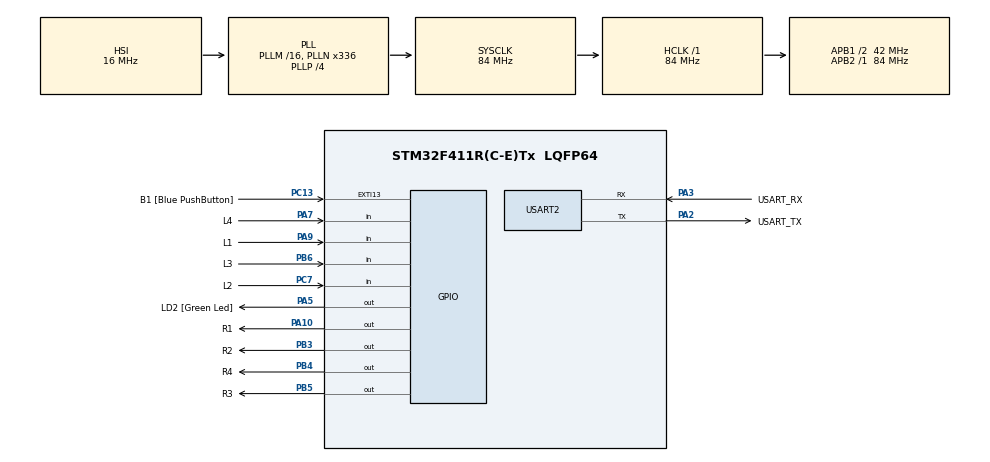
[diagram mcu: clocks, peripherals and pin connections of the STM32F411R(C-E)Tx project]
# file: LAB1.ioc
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Mcu.Family=STM32F4
Mcu.Name=STM32F411R(C-E)Tx
Mcu.Package=LQFP64
NVIC.PriorityGroup=NVIC_PRIORITYGROUP_0
PA10.GPIO_Label=R1
PA10.GPIO_ModeDefaultOutputPP=GPIO_MODE_OUTPUT_OD
PA10.GPIO_PuPd=GPIO_NOPULL
PA10.PinState=GPIO_PIN_RESET
PA10.Signal=GPIO_Output
PA13.GPIO_Label=TMS
PA13.Mode=Serial_Wire
PA13.Signal=SYS_JTMS-SWDIO
PA14.GPIO_Label=TCK
PA14.Mode=Serial_Wire
PA14.Signal=SYS_JTCK-SWCLK
PA2.GPIO_Label=USART_TX
PA2.Mode=Asynchronous
PA2.Signal=USART2_TX
PA3.GPIO_Label=USART_RX
PA3.Mode=Asynchronous
PA3.Signal=USART2_RX
PA5.GPIO_Label=LD2 [Green Led]
PA5.PinState=GPIO_PIN_RESET
PA5.Signal=GPIO_Output
PA7.GPIO_Label=L4
PA7.GPIO_PuPd=GPIO_PULLUP
PA7.Signal=GPIO_Input
PA9.GPIO_Label=L1
PA9.GPIO_PuPd=GPIO_PULLUP
PA9.Signal=GPIO_Input
PB3.GPIO_Label=R2
PB3.GPIO_ModeDefaultOutputPP=GPIO_MODE_OUTPUT_OD
PB3.GPIO_PuPd=GPIO_NOPULL
PB3.PinState=GPIO_PIN_RESET
PB3.Signal=GPIO_Output
PB4.GPIO_Label=R4
PB4.GPIO_ModeDefaultOutputPP=GPIO_MODE_OUTPUT_OD
PB4.GPIO_PuPd=GPIO_NOPULL
PB4.PinState=GPIO_PIN_RESET
PB4.Signal=GPIO_Output
PB5.GPIO_Label=R3
PB5.GPIO_ModeDefaultOutputPP=GPIO_MODE_OUTPUT_OD
PB5.GPIO_PuPd=GPIO_NOPULL
PB5.PinState=GPIO_PIN_RESET
PB5.Signal=GPIO_Output
PB6.GPIO_Label=L3
PB6.GPIO_PuPd=GPIO_PULLUP
PB6.Signal=GPIO_Input
PC13-ANTI_TAMP.GPIO_Label=B1 [Blue PushButton]
PC13-ANTI_TAMP.GPIO_ModeDefaultEXTI=GPIO_MODE_IT_FALLING
PC13-ANTI_TAMP.Signal=GPXTI13
PC14-OSC32_IN.Mode=LSE-External-Oscillator
PC14-OSC32_IN.Signal=RCC_OSC32_IN
PC15-OSC32_OUT.Mode=LSE-External-Oscillator
PC15-OSC32_OUT.Signal=RCC_OSC32_OUT
PC7.GPIO_Label=L2
PC7.GPIO_PuPd=GPIO_PULLUP
PC7.Signal=GPIO_Input
PH0\ -\ OSC_IN.Mode=HSE-External-Clock-Source
PH0\ -\ OSC_IN.Signal=RCC_OSC_IN
PH1\ -\ OSC_OUT.Mode=HSE-External-Clock-Source
PH1\ -\ OSC_OUT.Signal=RCC_OSC_OUT
ProjectManager.HeapSize=0x200
ProjectManager.StackSize=0x400
ProjectManager.TargetToolchain=STM32CubeIDE
RCC.48MHZClocksFreq_Value=84000000
RCC.AHBFreq_Value=84000000
RCC.APB1CLKDivider=RCC_HCLK_DIV2
RCC.APB1Freq_Value=42000000
RCC.APB1TimFreq_Value=84000000
RCC.APB2Freq_Value=84000000
RCC.APB2TimFreq_Value=84000000
RCC.CortexFreq_Value=84000000
RCC.FLatency-AdvancedSettings=FLASH_LATENCY_2
RCC.HCLKFreq_Value=84000000
RCC.HSE_VALUE=8000000
RCC.HSI_VALUE=16000000
RCC.PLLN=336
RCC.PLLP=RCC_PLLP_DIV4
RCC.SYSCLKFreq_VALUE=84000000
RCC.SYSCLKSource=RCC_SYSCLKSOURCE_PLLCLK
RCC.VCOOutputFreq_Value=336000000
USART2.VirtualMode=VM_ASYNC
board=NUCLEO-F411RE

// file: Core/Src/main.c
/* USER CODE BEGIN Header */
/**
  ******************************************************************************
  * @file           : main.c
  * @brief          : Main program body
  ******************************************************************************
  * @attention
  *
  * Copyright (c) 2023 STMicroelectronics.
  * All rights reserved.
  *
  * This software is licensed under terms that can be found in the LICENSE file
  * in the root directory of this software component.
  * If no LICENSE file comes with this software, it is provided AS-IS.
  *
  ******************************************************************************
  */
/* USER CODE END Header */
#include "main.h"

UART_HandleTypeDef huart2;

/* USER CODE BEGIN PV */

//create Structure of PortPin ,Typedef it to type name PortPin
typedef struct _PortPin
{
	GPIO_TypeDef* PORT;
	uint16_t PIN;
} PortPin;

//declare PortPin R,L
PortPin R[4] =
{
		{GPIOA,GPIO_PIN_10},
		{GPIOB,GPIO_PIN_3},
		{GPIOB,GPIO_PIN_5},
		{GPIOB,GPIO_PIN_4}
};

PortPin L[4] =
{
		{GPIOA,GPIO_PIN_9},
		{GPIOC,GPIO_PIN_7},
		{GPIOB,GPIO_PIN_6},
		{GPIOA,GPIO_PIN_7}
};

//For Button Contenter
uint32_t ButtonMatrix = 0;

uint8_t state = 0;
uint16_t pastbutton = 0;
/* USER CODE END PV */

void SystemClock_Config(void);
static void MX_GPIO_Init(void);
static void MX_USART2_UART_Init(void);
/* USER CODE BEGIN PFP */
void ReadMatrixButton_1Row();
void SCnumber();
/* USER CODE END PFP */

int main(void)
{

  /* MCU Configuration--------------------------------------------------------*/

  /* Reset of all peripherals, Initializes the Flash interface and the Systick. */
  HAL_Init();

  /* Configure the system clock */
  SystemClock_Config();

  /* Initialize all configured peripherals */
  MX_GPIO_Init();
  MX_USART2_UART_Init();

  /* Infinite loop */
  while (1)
  {

    /* USER CODE BEGIN 3 */
	  //Call function every 10 ms = 100Hz

	  static uint32_t timestamp=0;
	  if(HAL_GetTick()>=timestamp)
	  {
		  timestamp =HAL_GetTick() + 10;
		  ReadMatrixButton_1Row();

		  if(pastbutton == 0 && ButtonMatrix >0){
			  SCnumber();
		  }

		  pastbutton = ButtonMatrix;
	  }
  }
  /* USER CODE END 3 */
}

void SystemClock_Config(void)
{
  RCC_OscInitTypeDef RCC_OscInitStruct = {0};
  RCC_ClkInitTypeDef RCC_ClkInitStruct = {0};

  /** Configure the main internal regulator output voltage
  */
  __HAL_RCC_PWR_CLK_ENABLE();
  __HAL_PWR_VOLTAGESCALING_CONFIG(PWR_REGULATOR_VOLTAGE_SCALE1);

  /** Initializes the RCC Oscillators according to the specified parameters
  * in the RCC_OscInitTypeDef structure.
  */
  RCC_OscInitStruct.OscillatorType = RCC_OSCILLATORTYPE_HSI;
  RCC_OscInitStruct.HSIState = RCC_HSI_ON;
  RCC_OscInitStruct.HSICalibrationValue = RCC_HSICALIBRATION_DEFAULT;
  RCC_OscInitStruct.PLL.PLLState = RCC_PLL_ON;
  RCC_OscInitStruct.PLL.PLLSource = RCC_PLLSOURCE_HSI;
  RCC_OscInitStruct.PLL.PLLM = 16;
  RCC_OscInitStruct.PLL.PLLN = 336;
  RCC_OscInitStruct.PLL.PLLP = RCC_PLLP_DIV4;
  RCC_OscInitStruct.PLL.PLLQ = 4;
  if (HAL_RCC_OscConfig(&RCC_OscInitStruct) != HAL_OK)
  {
    Error_Handler();
  }

  /** Initializes the CPU, AHB and APB buses clocks
  */
  RCC_ClkInitStruct.ClockType = RCC_CLOCKTYPE_HCLK|RCC_CLOCKTYPE_SYSCLK
                              |RCC_CLOCKTYPE_PCLK1|RCC_CLOCKTYPE_PCLK2;
  RCC_ClkInitStruct.SYSCLKSource = RCC_SYSCLKSOURCE_PLLCLK;
  RCC_ClkInitStruct.AHBCLKDivider = RCC_SYSCLK_DIV1;
  RCC_ClkInitStruct.APB1CLKDivider = RCC_HCLK_DIV2;
  RCC_ClkInitStruct.APB2CLKDivider = RCC_HCLK_DIV1;

  if (HAL_RCC_ClockConfig(&RCC_ClkInitStruct, FLASH_LATENCY_2) != HAL_OK)
  {
    Error_Handler();
  }
}

static void MX_USART2_UART_Init(void)
{

  huart2.Instance = USART2;
  huart2.Init.BaudRate = 115200;
  huart2.Init.WordLength = UART_WORDLENGTH_8B;
  huart2.Init.StopBits = UART_STOPBITS_1;
  huart2.Init.Parity = UART_PARITY_NONE;
  huart2.Init.Mode = UART_MODE_TX_RX;
  huart2.Init.HwFlowCtl = UART_HWCONTROL_NONE;
  huart2.Init.OverSampling = UART_OVERSAMPLING_16;
  if (HAL_UART_Init(&huart2) != HAL_OK)
  {
    Error_Handler();
  }

}

static void MX_GPIO_Init(void)
{
  GPIO_InitTypeDef GPIO_InitStruct = {0};

  /* GPIO Ports Clock Enable */
  __HAL_RCC_GPIOC_CLK_ENABLE();
  __HAL_RCC_GPIOH_CLK_ENABLE();
  __HAL_RCC_GPIOA_CLK_ENABLE();
  __HAL_RCC_GPIOB_CLK_ENABLE();

  /*Configure GPIO pin Output Level */
  HAL_GPIO_WritePin(GPIOA, LD2_Pin|R1_Pin, GPIO_PIN_RESET);

  /*Configure GPIO pin Output Level */
  HAL_GPIO_WritePin(GPIOB, R2_Pin|R4_Pin|R3_Pin, GPIO_PIN_RESET);

  /*Configure GPIO pin : B1_Pin */
  GPIO_InitStruct.Pin = B1_Pin;
  GPIO_InitStruct.Mode = GPIO_MODE_IT_FALLING;
  GPIO_InitStruct.Pull = GPIO_NOPULL;
  HAL_GPIO_Init(B1_GPIO_Port, &GPIO_InitStruct);

  /*Configure GPIO pin : LD2_Pin */
  GPIO_InitStruct.Pin = LD2_Pin;
  GPIO_InitStruct.Mode = GPIO_MODE_OUTPUT_PP;
  GPIO_InitStruct.Pull = GPIO_NOPULL;
  GPIO_InitStruct.Speed = GPIO_SPEED_FREQ_LOW;
  HAL_GPIO_Init(LD2_GPIO_Port, &GPIO_InitStruct);

  /*Configure GPIO pins : L4_Pin L1_Pin */
  GPIO_InitStruct.Pin = L4_Pin|L1_Pin;
  GPIO_InitStruct.Mode = GPIO_MODE_INPUT;
  GPIO_InitStruct.Pull = GPIO_PULLUP;
  HAL_GPIO_Init(GPIOA, &GPIO_InitStruct);

  /*Configure GPIO pin : L2_Pin */
  GPIO_InitStruct.Pin = L2_Pin;
  GPIO_InitStruct.Mode = GPIO_MODE_INPUT;
  GPIO_InitStruct.Pull = GPIO_PULLUP;
  HAL_GPIO_Init(L2_GPIO_Port, &GPIO_InitStruct);

  /*Configure GPIO pin : R1_Pin */
  GPIO_InitStruct.Pin = R1_Pin;
  GPIO_InitStruct.Mode = GPIO_MODE_OUTPUT_OD;
  GPIO_InitStruct.Pull = GPIO_NOPULL;
  GPIO_InitStruct.Speed = GPIO_SPEED_FREQ_LOW;
  HAL_GPIO_Init(R1_GPIO_Port, &GPIO_InitStruct);

  /*Configure GPIO pins : R2_Pin R4_Pin R3_Pin */
  GPIO_InitStruct.Pin = R2_Pin|R4_Pin|R3_Pin;
  GPIO_InitStruct.Mode = GPIO_MODE_OUTPUT_OD;
  GPIO_InitStruct.Pull = GPIO_NOPULL;
  GPIO_InitStruct.Speed = GPIO_SPEED_FREQ_LOW;
  HAL_GPIO_Init(GPIOB, &GPIO_InitStruct);

  /*Configure GPIO pin : L3_Pin */
  GPIO_InitStruct.Pin = L3_Pin;
  GPIO_InitStruct.Mode = GPIO_MODE_INPUT;
  GPIO_InitStruct.Pull = GPIO_PULLUP;
  HAL_GPIO_Init(L3_GPIO_Port, &GPIO_InitStruct);

}

/* USER CODE BEGIN 4 */
void ReadMatrixButton_1Row()
{
	//
	static uint8_t X = 0;

	//READ L1-L4
	register int i;
	for(i=0;i<4;i++)
	{
		if(HAL_GPIO_ReadPin(L[i].PORT, L[i].PIN))
		{
			ButtonMatrix &= ~(1<<(X*4+i));

		}
		else
		{
			ButtonMatrix |= 1<<(X*4+i);

		}

	}
	//SET RX
	HAL_GPIO_WritePin(R[X].PORT, R[X].PIN, 1);
	//RESET RX+1%4
	HAL_GPIO_WritePin(R[(X+1)%4].PORT, R[(X+1)%4].PIN, 0);
	X++;
	X%=4;
}

void SCnumber(){
	switch(state){
			case 0://6
			if(ButtonMatrix  == 512){
				state = 1;
			}
			else if(ButtonMatrix == 4096){
				state = 0;
			}

			break;

			case 1://4
			if(ButtonMatrix  == 2 ){
				state = 2;
			}
			else if(ButtonMatrix == 4096){
				state = 0;
			}
			else{
				state = 0;
			}
			break;

			case 2://3
			if(ButtonMatrix  == 1024){
				state = 3;
			}
			else if(ButtonMatrix == 4096){
				state = 0;
			}
			else{
				state = 0;
			}
			break;

			case 3://4
			if(ButtonMatrix  == 2){
				state = 4;
			}
			else if(ButtonMatrix == 4096){
				state = 0;
			}
			else{
				state = 0;
			}
			break;
			case 4://0
			if(ButtonMatrix  == 8){
				state = 5;
			}
			else if(ButtonMatrix == 4096){
				state = 0;
			}
			else{
				state = 0;
			}
			break;

			case 5://5
			if(ButtonMatrix  == 32){
				state = 6;
			}
			else if(ButtonMatrix == 4096){
				state = 0;
			}
			else{
				state = 0;
			}
			break;

			case 6://0
			if(ButtonMatrix  == 8){
				state = 7;
			}
			else if(ButtonMatrix == 4096){
				state = 0;
			}
			else{
				state = 0;
			}
			break;

			case 7://0
			if(ButtonMatrix  == 8){
				state = 8;
			}
			else if(ButtonMatrix == 4096){
				state = 0;
			}
			else{
				state = 0;
			}
			break;

			case 8://0
			if(ButtonMatrix  == 8){
				state = 9;
			}
			else if(ButtonMatrix == 4096){
				state = 0;
			}
			else{
				state = 0;
			}
			break;

			case 9://2
			if(ButtonMatrix  == 64){
				state = 10;
			}
			else if(ButtonMatrix == 4096){
				state = 0;
			}
			else{
				state = 0;
			}
			break;

			case 10://3
			if(ButtonMatrix  == 1024){
				state = 11;
			}
			else if(ButtonMatrix == 4096){
				state = 0;
			}
			else{
				state = 0;
			}
			break;

			case 11://ok
			if(ButtonMatrix  == 32768){
				state = 12;
				HAL_GPIO_WritePin(GPIOA, GPIO_PIN_5, SET);
			}
			else if(ButtonMatrix == 4096){
				state = 0;
			}
			else{
				state = 0;
			}
			break;

			case 12://LED
			if(ButtonMatrix  == 4096){
				state = 0;
				HAL_GPIO_WritePin(GPIOA, GPIO_PIN_5, RESET);
			}
			break;

	}

}
/* USER CODE END 4 */

void Error_Handler(void)
{
  __disable_irq();
  while (1)
  {
  }
}
